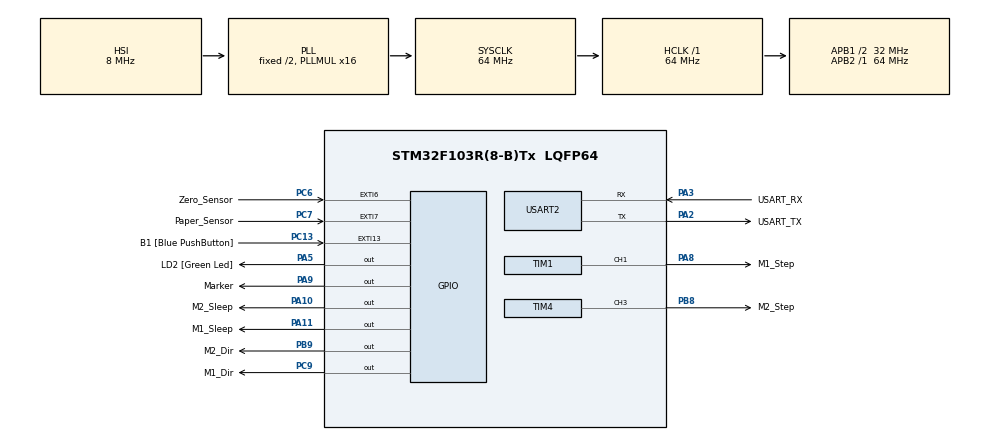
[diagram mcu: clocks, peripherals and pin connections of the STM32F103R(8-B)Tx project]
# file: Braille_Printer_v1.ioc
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Dma.Request0=USART2_RX
Dma.Request1=USART2_TX
Dma.USART2_RX.0.Direction=DMA_PERIPH_TO_MEMORY
Dma.USART2_RX.0.Instance=DMA1_Channel6
Dma.USART2_RX.0.MemDataAlignment=DMA_MDATAALIGN_BYTE
Dma.USART2_RX.0.MemInc=DMA_MINC_ENABLE
Dma.USART2_RX.0.Mode=DMA_NORMAL
Dma.USART2_RX.0.PeriphDataAlignment=DMA_PDATAALIGN_BYTE
Dma.USART2_RX.0.PeriphInc=DMA_PINC_DISABLE
Dma.USART2_RX.0.Priority=DMA_PRIORITY_LOW
Dma.USART2_TX.1.Direction=DMA_MEMORY_TO_PERIPH
Dma.USART2_TX.1.Instance=DMA1_Channel7
Dma.USART2_TX.1.MemDataAlignment=DMA_MDATAALIGN_BYTE
Dma.USART2_TX.1.MemInc=DMA_MINC_ENABLE
Dma.USART2_TX.1.Mode=DMA_NORMAL
Dma.USART2_TX.1.PeriphDataAlignment=DMA_PDATAALIGN_BYTE
Dma.USART2_TX.1.PeriphInc=DMA_PINC_DISABLE
Dma.USART2_TX.1.Priority=DMA_PRIORITY_LOW
Mcu.Family=STM32F1
Mcu.Name=STM32F103R(8-B)Tx
Mcu.Package=LQFP64
NVIC.DMA1_Channel6_IRQn=true\:0\:0\:false\:false\:true\:false
NVIC.DMA1_Channel7_IRQn=true\:0\:0\:false\:false\:true\:false
NVIC.EXTI15_10_IRQn=true\:0\:0\:false\:false\:true\:true
NVIC.EXTI9_5_IRQn=true\:0\:0\:false\:false\:true\:true
NVIC.PriorityGroup=NVIC_PRIORITYGROUP_4
NVIC.TIM2_IRQn=true\:0\:0\:false\:false\:true\:true
NVIC.TIM3_IRQn=true\:0\:0\:false\:false\:true\:true
NVIC.TIM4_IRQn=true\:0\:0\:false\:false\:true\:true
NVIC.USART2_IRQn=true\:0\:0\:false\:false\:true\:true
PA10.GPIO_Label=M2_Sleep
PA10.Signal=GPIO_Output
PA11.GPIO_Label=M1_Sleep
PA11.Signal=GPIO_Output
PA13.GPIO_Label=TMS
PA13.Mode=Serial_Wire
PA13.Signal=SYS_JTMS-SWDIO
PA14.GPIO_Label=TCK
PA14.Mode=Serial_Wire
PA14.Signal=SYS_JTCK-SWCLK
PA2.GPIO_Label=USART_TX
PA2.GPIO_Mode=GPIO_MODE_AF_PP
PA2.GPIO_PuPd=GPIO_NOPULL
PA2.GPIO_Speed=GPIO_SPEED_FREQ_LOW
PA2.Mode=Asynchronous
PA2.Signal=USART2_TX
PA3.GPIO_Label=USART_RX
PA3.GPIO_Mode=GPIO_MODE_AF_PP
PA3.GPIO_PuPd=GPIO_NOPULL
PA3.GPIO_Speed=GPIO_SPEED_FREQ_LOW
PA3.Mode=Asynchronous
PA3.Signal=USART2_RX
PA5.GPIO_Label=LD2 [Green Led]
PA5.GPIO_ModeDefaultOutputPP=GPIO_MODE_OUTPUT_PP
PA5.GPIO_PuPd=GPIO_NOPULL
PA5.GPIO_Speed=GPIO_SPEED_FREQ_LOW
PA5.Signal=GPIO_Output
PA8.GPIO_Label=M1_Step
PA8.Signal=S_TIM1_CH1
PA9.GPIO_Label=Marker
PA9.Signal=GPIO_Output
PB3.GPIO_Label=SWO
PB3.Signal=SYS_JTDO-TRACESWO
PB8.GPIO_Label=M2_Step
PB8.Signal=S_TIM4_CH3
PB9.GPIO_Label=M2_Dir
PB9.Signal=GPIO_Output
PC13-TAMPER-RTC.GPIO_Label=B1 [Blue PushButton]
PC13-TAMPER-RTC.GPIO_PuPd=GPIO_NOPULL
PC13-TAMPER-RTC.Signal=GPXTI13
PC14-OSC32_IN.Mode=LSE-External-Oscillator
PC14-OSC32_IN.Signal=RCC_OSC32_IN
PC15-OSC32_OUT.Mode=LSE-External-Oscillator
PC15-OSC32_OUT.Signal=RCC_OSC32_OUT
PC6.GPIO_Label=Zero_Sensor
PC6.GPIO_ModeDefaultEXTI=GPIO_MODE_IT_RISING_FALLING
PC6.GPIO_PuPd=GPIO_PULLUP
PC6.Signal=GPXTI6
PC7.GPIO_Label=Paper_Sensor
PC7.GPIO_ModeDefaultEXTI=GPIO_MODE_IT_RISING_FALLING
PC7.GPIO_PuPd=GPIO_PULLUP
PC7.Signal=GPXTI7
PC9.GPIO_Label=M1_Dir
PC9.Signal=GPIO_Output
PD0-OSC_IN.Mode=HSE-External-Clock-Source
PD0-OSC_IN.Signal=RCC_OSC_IN
PD1-OSC_OUT.Mode=HSE-External-Clock-Source
PD1-OSC_OUT.Signal=RCC_OSC_OUT
ProjectManager.HeapSize=0x200
ProjectManager.StackSize=0x400
ProjectManager.TargetToolchain=TrueSTUDIO
RCC.AHBFreq_Value=64000000
RCC.APB1CLKDivider=RCC_HCLK_DIV2
RCC.APB1Freq_Value=32000000
RCC.APB1TimFreq_Value=64000000
RCC.APB2Freq_Value=64000000
RCC.APB2TimFreq_Value=64000000
RCC.HCLKFreq_Value=64000000
RCC.PLLMUL=RCC_PLL_MUL16
RCC.RTCClockSelection=RCC_RTCCLKSOURCE_LSE
RCC.SYSCLKFreq_VALUE=64000000
RCC.SYSCLKSource=RCC_SYSCLKSOURCE_PLLCLK
RCC.USBFreq_Value=64000000
SH.S_TIM1_CH1.0=TIM1_CH1,PWM Generation1 CH1
SH.S_TIM4_CH3.0=TIM4_CH3,PWM Generation3 CH3
TIM1.Channel-PWM\ Generation1\ CH1=TIM_CHANNEL_1
TIM1.Period=99
TIM1.Prescaler=15999
TIM2.AutoReloadPreload=TIM_AUTORELOAD_PRELOAD_DISABLE
TIM2.Period=499
TIM2.Prescaler=63999
TIM3.Period=199
TIM3.Prescaler=63999
TIM4.Channel-PWM\ Generation3\ CH3=TIM_CHANNEL_3
TIM4.Period=99
TIM4.Prescaler=15999
USART2.StopBits=STOPBITS_1
USART2.VirtualMode=VM_ASYNC
VP_TIM1_VS_ClockSourceINT.Mode=Internal
VP_TIM2_VS_ClockSourceINT.Mode=Internal
VP_TIM3_VS_ClockSourceINT.Mode=Internal
VP_TIM4_VS_ClockSourceINT.Mode=Internal
board=NUCLEO-F103RB

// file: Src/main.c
/**
  ******************************************************************************
  * @file           : main.c
  * @brief          : Main program body
  ******************************************************************************
  ** This notice applies to any and all portions of this file
  * that are not between comment pairs USER CODE BEGIN and
  * USER CODE END. Other portions of this file, whether
  * inserted by the user or by software development tools
  * are owned by their respective copyright owners.
  *
  * COPYRIGHT(c) 2018 STMicroelectronics
  *
  * Redistribution and use in source and binary forms, with or without modification,
  * are permitted provided that the following conditions are met:
  *   1. Redistributions of source code must retain the above copyright notice,
  *      this list of conditions and the following disclaimer.
  *   2. Redistributions in binary form must reproduce the above copyright notice,
  *      this list of conditions and the following disclaimer in the documentation
  *      and/or other materials provided with the distribution.
  *   3. Neither the name of STMicroelectronics nor the names of its contributors
  *      may be used to endorse or promote products derived from this software
  *      without specific prior written permission.
  *
  * THIS SOFTWARE IS PROVIDED BY THE COPYRIGHT HOLDERS AND CONTRIBUTORS "AS IS"
  * AND ANY EXPRESS OR IMPLIED WARRANTIES, INCLUDING, BUT NOT LIMITED TO, THE
  * IMPLIED WARRANTIES OF MERCHANTABILITY AND FITNESS FOR A PARTICULAR PURPOSE ARE
  * DISCLAIMED. IN NO EVENT SHALL THE COPYRIGHT HOLDER OR CONTRIBUTORS BE LIABLE
  * FOR ANY DIRECT, INDIRECT, INCIDENTAL, SPECIAL, EXEMPLARY, OR CONSEQUENTIAL
  * DAMAGES (INCLUDING, BUT NOT LIMITED TO, PROCUREMENT OF SUBSTITUTE GOODS OR
  * SERVICES; LOSS OF USE, DATA, OR PROFITS; OR BUSINESS INTERRUPTION) HOWEVER
  * CAUSED AND ON ANY THEORY OF LIABILITY, WHETHER IN CONTRACT, STRICT LIABILITY,
  * OR TORT (INCLUDING NEGLIGENCE OR OTHERWISE) ARISING IN ANY WAY OUT OF THE USE
  * OF THIS SOFTWARE, EVEN IF ADVISED OF THE POSSIBILITY OF SUCH DAMAGE.
  *
  ******************************************************************************
  */
#include "main.h"
#include "stm32f1xx_hal.h"

/* USER CODE BEGIN Includes */
#include "stdbool.h"
/* USER CODE END Includes */

TIM_HandleTypeDef htim1;
TIM_HandleTypeDef htim2;
TIM_HandleTypeDef htim3;
TIM_HandleTypeDef htim4;

UART_HandleTypeDef huart2;
DMA_HandleTypeDef hdma_usart2_rx;
DMA_HandleTypeDef hdma_usart2_tx;

/* USER CODE BEGIN PV */
/* Private variables ---------------------------------------------------------*/
static uint8_t table[27]; //max 27 /////liczba wczytywanych znakow - MO¯NA ZMIENIAC!!!
static uint16_t tableLength = 5; ///////////////////////////
static uint16_t fullLineBrailleTable[3][45];
static uint16_t singleChar[3][3];
static uint16_t doubleChar[3][6];
static uint16_t n = 0;
static uint16_t counter = 0;
static uint16_t lineCounter = 0;
static uint16_t markerCounter = 0;

static uint8_t msg[100];

static bool stopFlag = true;
static bool markerFlag = false;
static bool zeroFlag = false;
static bool paperFlag = false;
static bool pwmFlag = false;
static bool resetFlag = false;/////czkeaja do kolejnego etapu prac
static bool loadFlag = false;
static bool isFirstFlag = true;

static uint16_t step = 0;	//////////////rozmiar krokow - MO¯NA ZMIENIAC!!!
static uint16_t x = -1;  //flaga ruchu -1 ¿eby na pocz¹tki ni chuj nic siê nie rusza³o :)
static uint16_t r = -1;
static uint8_t data[100];
static uint16_t size;

static uint16_t pwmCounter = 0;
/* USER CODE END PV */

void SystemClock_Config(void);
static void MX_GPIO_Init(void);
static void MX_DMA_Init(void);
static void MX_USART2_UART_Init(void);
static void MX_TIM2_Init(void);
static void MX_TIM3_Init(void);
static void MX_TIM1_Init(void);
static void MX_TIM4_Init(void);
void HAL_TIM_MspPostInit(TIM_HandleTypeDef *htim);

/* USER CODE BEGIN PFP */
/* Private function prototypes -----------------------------------------------*/
void HAL_GPIO_EXTI_Callback(uint16_t GPIO_Pin){
  if(GPIO_Pin == Zero_Sensor_Pin){
	  if(!HAL_GPIO_ReadPin(Zero_Sensor_GPIO_Port, Zero_Sensor_Pin)){

		  zeroFlag = true;
		  //afterResetFunction();
	  }else{

		  zeroFlag = false;

	  }
  }
 if(GPIO_Pin == Paper_Sensor_Pin){
	  if(!HAL_GPIO_ReadPin(Paper_Sensor_GPIO_Port, Paper_Sensor_Pin)){
		  HAL_GPIO_WritePin(GPIOA, GPIO_PIN_5, SET);
		  paperFlag = true;
	  }else{
		  HAL_GPIO_WritePin(GPIOA, GPIO_PIN_5, RESET);
  		  paperFlag = false;

  	  }
  }
}

void numberOfChars(){
	for(int i = 0; i<tableLength; i++){
		if(65 <= table[i] && table[i] <= 90){
			n+=2;
		}else if((48 <= table[i] && table[i] <= 57)){
			if(i == 0 || (i > 0 && (table[i-1] < 48 || table[i-1] > 57))){
				n+=2;
			}else n++;
		}else n++;
	}
}

void stringToBrailleTable(){
	uint16_t localFlag = 0;
	uint16_t wchichChar = 0;
	uint16_t lastChar = 0;

	for(wchichChar = 0; wchichChar<tableLength; wchichChar++){
		// 0 - puste pole 1 - kropka 2 - koniec znaku/przejscie do nast znaku
		//brakuje jeszcze case'ow na znaki zpecjalne itd :)
		switch(table[wchichChar]){
			//ma³e litery! a-z i spacja kropka, przecinek i wykrzyknik
			case 44: singleChar[0][0] = 0;	singleChar[0][1] = 0; singleChar[0][2] = 2;
					singleChar[1][0] = 1;	singleChar[1][1] = 0; singleChar[1][2] = 2;
					singleChar[2][0] = 0;	singleChar[2][1] = 0; singleChar[2][2] = 2;	break;
			case 46: singleChar[0][0] = 0;	singleChar[0][1] = 0; singleChar[0][2] = 2;
					singleChar[1][0] = 0;	singleChar[1][1] = 0; singleChar[1][2] = 2;
					singleChar[2][0] = 1;	singleChar[2][1] = 0; singleChar[2][2] = 2;	break;
			case 33: singleChar[0][0] = 0;	singleChar[0][1] = 0; singleChar[0][2] = 2;
					singleChar[1][0] = 0;	singleChar[1][1] = 1; singleChar[1][2] = 2;
					singleChar[2][0] = 0;	singleChar[2][1] = 0; singleChar[2][2] = 2;	break;
			case 32: singleChar[0][0] = 0;	singleChar[0][1] = 0; singleChar[0][2] = 2;
					singleChar[1][0] = 0;	singleChar[1][1] = 0; singleChar[1][2] = 2;
					singleChar[2][0] = 0;	singleChar[2][1] = 0; singleChar[2][2] = 2;	break;
			case 49:
			case 65:
			case 97: singleChar[0][0] = 1;	singleChar[0][1] = 0; singleChar[0][2] = 2;
					singleChar[1][0] = 0;	singleChar[1][1] = 0; singleChar[1][2] = 2;
					singleChar[2][0] = 0;	singleChar[2][1] = 0; singleChar[2][2] = 2;	break;
			case 50:
			case 66:
			case 98: singleChar[0][0] = 1;	singleChar[0][1] = 0; singleChar[0][2] = 2;
					singleChar[1][0] = 1;	singleChar[1][1] = 0; singleChar[1][2] = 2;
					singleChar[2][0] = 0;	singleChar[2][1] = 0; singleChar[2][2] = 2; break;
			case 51:
			case 67:
			case 99: singleChar[0][0] = 1;	singleChar[0][1] = 1; singleChar[0][2] = 2;
					singleChar[1][0] = 0;	singleChar[1][1] = 0; singleChar[1][2] = 2;
					singleChar[2][0] = 0;	singleChar[2][1] = 0; singleChar[2][2] = 2; break;
			case 52:
			case 68:
			case 100: singleChar[0][0] = 1;	singleChar[0][1] = 1; singleChar[0][2] = 2;
					singleChar[1][0] = 0;	singleChar[1][1] = 1; singleChar[1][2] = 2;
					singleChar[2][0] = 0;	singleChar[2][1] = 0; singleChar[2][2] = 2; break;
			case 53:
			case 69:
			case 101: singleChar[0][0] = 1;	singleChar[0][1] = 0; singleChar[0][2] = 2;
					singleChar[1][0] = 0;	singleChar[1][1] = 1; singleChar[1][2] = 2;
					singleChar[2][0] = 0;	singleChar[2][1] = 0; singleChar[2][2] = 2; break;
			case 54:
			case 70:
			case 102: singleChar[0][0] = 1;	singleChar[0][1] = 1; singleChar[0][2] = 2;
					singleChar[1][0] = 1;	singleChar[1][1] = 0; singleChar[1][2] = 2;
					singleChar[2][0] = 0;	singleChar[2][1] = 0; singleChar[2][2] = 2; break;
			case 55:
			case 71:
			case 103: singleChar[0][0] = 1;	singleChar[0][1] = 1; singleChar[0][2] = 2;
					singleChar[1][0] = 1;	singleChar[1][1] = 1; singleChar[1][2] = 2;
					singleChar[2][0] = 0;	singleChar[2][1] = 0; singleChar[2][2] = 2; break;
			case 56:
			case 72:
			case 104: singleChar[0][0] = 1;	singleChar[0][1] = 0; singleChar[0][2] = 2;
					singleChar[1][0] = 1;	singleChar[1][1] = 1; singleChar[1][2] = 2;
					singleChar[2][0] = 0;	singleChar[2][1] = 0; singleChar[2][2] = 2; break;
			case 57:
			case 73:
			case 105: singleChar[0][0] = 1;	singleChar[0][1] = 0; singleChar[0][2] = 2;
					singleChar[1][0] = 0;	singleChar[1][1] = 1; singleChar[1][2] = 2;
					singleChar[2][0] = 0;	singleChar[2][1] = 0; singleChar[2][2] = 2; break;
			case 48:
			case 74:
			case 106: singleChar[0][0] = 0;	singleChar[0][1] = 1; singleChar[0][2] = 2;
					singleChar[1][0] = 1;	singleChar[1][1] = 1; singleChar[1][2] = 2;
					singleChar[2][0] = 0;	singleChar[2][1] = 0; singleChar[2][2] = 2; break;
			case 75:
			case 107: singleChar[0][0] = 1;	singleChar[0][1] = 0; singleChar[0][2] = 2;
					singleChar[1][0] = 0;	singleChar[1][1] = 0; singleChar[1][2] = 2;
					singleChar[2][0] = 1;	singleChar[2][1] = 0; singleChar[2][2] = 2; break;
			case 76:
			case 108: singleChar[0][0] = 1;	singleChar[0][1] = 0; singleChar[0][2] = 2;
					singleChar[1][0] = 1;	singleChar[1][1] = 0; singleChar[1][2] = 2;
					singleChar[2][0] = 1;	singleChar[2][1] = 0; singleChar[2][2] = 2; break;
			case 77:
			case 109: singleChar[0][0] = 1;	singleChar[0][1] = 1; singleChar[0][2] = 2;
					singleChar[1][0] = 0;	singleChar[1][1] = 0; singleChar[1][2] = 2;
					singleChar[2][0] = 1;	singleChar[2][1] = 0; singleChar[2][2] = 2; break;
			case 78:
			case 110: singleChar[0][0] = 1;	singleChar[0][1] = 1; singleChar[0][2] = 2;
					singleChar[1][0] = 0;	singleChar[1][1] = 1; singleChar[1][2] = 2;
					singleChar[2][0] = 1;	singleChar[2][1] = 0; singleChar[2][2] = 2; break;
			case  79:
			case 111: singleChar[0][0] = 1;	singleChar[0][1] = 0; singleChar[0][2] = 2;
					singleChar[1][0] = 0;	singleChar[1][1] = 1; singleChar[1][2] = 2;
					singleChar[2][0] = 1;	singleChar[2][1] = 0; singleChar[2][2] = 2; break;
			case 80:
			case 112: singleChar[0][0] = 1;	singleChar[0][1] = 1; singleChar[0][2] = 2;
					singleChar[1][0] = 1;	singleChar[1][1] = 0; singleChar[1][2] = 2;
					singleChar[2][0] = 1;	singleChar[2][1] = 0; singleChar[2][2] = 2; break;
			case 81:
			case 113: singleChar[0][0] = 1;	singleChar[0][1] = 1; singleChar[0][2] = 2;
					singleChar[1][0] = 1;	singleChar[1][1] = 1; singleChar[1][2] = 2;
					singleChar[2][0] = 1;	singleChar[2][1] = 0; singleChar[2][2] = 2; break;
			case 82:
			case 114: singleChar[0][0] = 1;	singleChar[0][1] = 0; singleChar[0][2] = 2;
					singleChar[1][0] = 1;	singleChar[1][1] = 1; singleChar[1][2] = 2;
					singleChar[2][0] = 1;	singleChar[2][1] = 0; singleChar[2][2] = 2; break;
			case 83:
			case 115: singleChar[0][0] = 0;	singleChar[0][1] = 1; singleChar[0][2] = 2;
					singleChar[1][0] = 1;	singleChar[1][1] = 0; singleChar[1][2] = 2;
					singleChar[2][0] = 1;	singleChar[2][1] = 0; singleChar[2][2] = 2; break;
			case 84:
			case 116: singleChar[0][0] = 0;	singleChar[0][1] = 1; singleChar[0][2] = 2;
					singleChar[1][0] = 1;	singleChar[1][1] = 1; singleChar[1][2] = 2;
					singleChar[2][0] = 1;	singleChar[2][1] = 0; singleChar[2][2] = 2; break;
			case 85:
			case 117: singleChar[0][0] = 1;	singleChar[0][1] = 0; singleChar[0][2] = 2;
					singleChar[1][0] = 0;	singleChar[1][1] = 0; singleChar[1][2] = 2;
					singleChar[2][0] = 1;	singleChar[2][1] = 1; singleChar[2][2] = 2; break;
			case 86:
			case 118: singleChar[0][0] = 1;	singleChar[0][1] = 0; singleChar[0][2] = 2;
					singleChar[1][0] = 1;	singleChar[1][1] = 0; singleChar[1][2] = 2;
					singleChar[2][0] = 1;	singleChar[2][1] = 1; singleChar[2][2] = 2; break;
			case 87:
			case 119: singleChar[0][0] = 0;	singleChar[0][1] = 1; singleChar[0][2] = 2;
					singleChar[1][0] = 1;	singleChar[1][1] = 1; singleChar[1][2] = 2;
					singleChar[2][0] = 0;	singleChar[2][1] = 1; singleChar[2][2] = 2; break;
			case 88:
			case 120: singleChar[0][0] = 1;	singleChar[0][1] = 1; singleChar[0][2] = 2;
					singleChar[1][0] = 0;	singleChar[1][1] = 0; singleChar[1][2] = 2;
					singleChar[2][0] = 1;	singleChar[2][1] = 1; singleChar[2][2] = 2; break;
			case 89:
			case 121: singleChar[0][0] = 1;	singleChar[0][1] = 1; singleChar[0][2] = 2;
					singleChar[1][0] = 0;	singleChar[1][1] = 1; singleChar[1][2] = 2;
					singleChar[2][0] = 1;	singleChar[2][1] = 1; singleChar[2][2] = 2; break;
			case 90:
			case 122: singleChar[0][0] = 1;	singleChar[0][1] = 0; singleChar[0][2] = 2;
					singleChar[1][0] = 0;	singleChar[1][1] = 1; singleChar[1][2] = 2;
					singleChar[2][0] = 1;	singleChar[2][1] = 1; singleChar[2][2] = 2; break;

		}

		if(65 <= table[wchichChar] && table[wchichChar] <= 90){
			//znak poprzedzaj¹cy wielkie litery
			doubleChar[0][0] = 0;	doubleChar[0][1] = 1; doubleChar[0][2] = 2;
			doubleChar[1][0] = 0;	doubleChar[1][1] = 0; doubleChar[1][2] = 2;
			doubleChar[2][0] = 0;	doubleChar[2][1] = 1; doubleChar[2][2] = 2;

			localFlag = 2;

			for(int i = 0; i<3; i++){
				for(int j = 0; j<3; j++){
					doubleChar[i][j+3] = singleChar[i][j];

				}

			}

		}else if(48 <= table[wchichChar] && table[wchichChar] <= 57){
			if(wchichChar == 0 || (wchichChar > 0 && (table[wchichChar-1] < 48 || table[wchichChar-1] > 57))){
				//znak poprzedzaj¹cy liczby//////////////////////////////////////////////
				doubleChar[0][0] = 0;	doubleChar[0][1] = 1; doubleChar[0][2] = 2;
				doubleChar[1][0] = 0;	doubleChar[1][1] = 1; doubleChar[1][2] = 2;
				doubleChar[2][0] = 1;	doubleChar[2][1] = 1; doubleChar[2][2] = 2;

				localFlag = 2;

				for(int i = 0; i<3; i++){
					for(int j = 0; j<3; j++){
						doubleChar[i][j+3] = singleChar[i][j];

					}

				}
			}

		}else localFlag = 1;

		for(int i = 0; i<3; i++){
			for(int j = 0; j<localFlag*3; j++){
				if(localFlag == 1){
					fullLineBrailleTable[i][(wchichChar * 3) + j] = singleChar[i][j];
				}else if (localFlag == 2){
					fullLineBrailleTable[i][(wchichChar * 3) + j] = doubleChar[i][j];
				}

				lastChar = (wchichChar * 3) + j;
			}

		}

	}
	for(int i = 0; i<3; i++){  //uzupe³nienie reszty tablicy spacjami w braille'u
		 	 	 	 	 	 	 /////narazie jest 45 czyli ca³a linia niewazne ile wpiszemy, ale
								//docelowo bêdzie tam n*3 kolumn i nie bedziemy uzupe³niac spacjami :)
		for(int j = lastChar; j<45; j++){
			if((j+1)%3 == 0) fullLineBrailleTable[i][j] = 2;
			else fullLineBrailleTable[i][j] = 0;
		}
	}

}

void reset1(){
	stopFlag = true;
	if(!HAL_GPIO_ReadPin(M1_Dir_GPIO_Port, M1_Dir_Pin))
		HAL_GPIO_WritePin(M1_Dir_GPIO_Port, M1_Dir_Pin, SET);

	TIM1->CCR1 = 50;
	TIM4->CCR3 = 0;
	x = 4;
	pwmFlag = true;
}

void loadPaper(){
	stopFlag = true;
	if(HAL_GPIO_ReadPin(M2_Dir_GPIO_Port, M2_Dir_Pin))
		HAL_GPIO_WritePin(M2_Dir_GPIO_Port, M2_Dir_Pin, RESET);

	TIM1->CCR1 = 0;
	TIM4->CCR3 = 50;
	x = 5;
	pwmFlag = true;
}

void afterMoveFunction(){
	if(x == 0){
		if(fullLineBrailleTable[lineCounter][counter] == 0){
			TIM1->CCR1 = 0;/////////////////////////////////////////////////////////////////
			TIM4->CCR3 = 0;
			x=1;
			step = 0;
			pwmFlag = true;
		}else if(fullLineBrailleTable[lineCounter][counter] == 1){
			x=1;
			markerFlag = true;
		}else if(fullLineBrailleTable[lineCounter][counter] == 2){

			TIM1->CCR1 = 50;/////////////////////////////////////////////////////////////////
			TIM4->CCR3 = 0;
			x=1;
			step = 2;
			pwmFlag = true;
		}

	}else if(x == 1){
		counter++;
		if((counter)%3==0) isFirstFlag = true;

		if(counter >= n*3){
			counter = 0;
			lineCounter++;
			r=1;
			resetFlag=true;/////////////////////////////////////////////////////////////////////
		}else stopFlag = false;
	}else if(x == 2){
		if(lineCounter >= 3){
			lineCounter = 0;
			r=2;
			resetFlag=true;/////////////////////////////////////////////////////////////////////
		}else stopFlag = false;
	}

}

void afterResetFunction(){
	if(r == 0){
		r = 3;
		loadFlag = true;
	}else if(r == 1){
		r = 4;
		loadFlag = true;
	}else if(r == 2){
		r = 5;
		loadFlag = true;
	}else if(r==3){
		n=0;
		numberOfChars();
		stringToBrailleTable();
		///////////////
		size = sprintf(&data, "\n\r Saved: %s , jest to %d znakow "
				"w Braille'u.\n\r Rozpoczynam drukowanie lini...\n\r", table, n);
		//////////////
		HAL_UART_Transmit_IT(&huart2, &data, size);
		stopFlag = false;
	}else if(r == 4){
		//oœ Y ruch
		if(HAL_GPIO_ReadPin(M2_Dir_GPIO_Port, M2_Dir_Pin))
			HAL_GPIO_WritePin(M2_Dir_GPIO_Port, M2_Dir_Pin, RESET);
		TIM1->CCR1 = 0;//////////////////////////////////////////////////////////////////////
		TIM4->CCR3 = 50;
		x = 2;
		step = 35;
		pwmFlag = true;
	}else if(r == 5){
		uint16_t size2 = sprintf(&msg, "Wpisz kolejna linie do druku: \n\r");
		HAL_UART_Transmit_IT(&huart2, &msg, size2);

		HAL_UART_Receive_IT(&huart2, &table, tableLength);
	}

}

void HAL_TIM_PeriodElapsedCallback(TIM_HandleTypeDef *htim){
	if(htim == &htim2){
		if(!stopFlag){
			stopFlag = true;

			if(HAL_GPIO_ReadPin(M1_Dir_GPIO_Port, M1_Dir_Pin))
					HAL_GPIO_WritePin(M1_Dir_GPIO_Port, M1_Dir_Pin, RESET);
			//zawsze jedn krok i potem program decyduje co dalej
			if(!isFirstFlag){
				TIM1->CCR1 = 50;///////////////////////////////////////////////////////////////////////
				TIM4->CCR3 = 0;
				step = 6;
			}else{
				TIM1->CCR1 = 0;///////////////////////////////////////////////////////////////////////
				TIM4->CCR3 = 0;
				step = 0;
			}
			isFirstFlag = false;
			x = 0;
			pwmFlag = true;

		}
	}
	if(htim == &htim3){
		//HAL_GPIO_TogglePin(GPIOA, GPIO_PIN_5);
		if(markerFlag){
			markerCounter++;
			HAL_GPIO_TogglePin(Marker_GPIO_Port,  Marker_Pin);
			if(markerCounter== 2){
				markerCounter = 0;
				markerFlag = false;
				afterMoveFunction();
			}

		}if(pwmFlag){
			HAL_GPIO_WritePin(M1_Sleep_GPIO_Port, M1_Sleep_Pin, RESET);
			HAL_GPIO_WritePin(M2_Sleep_GPIO_Port, M2_Sleep_Pin, RESET);
			pwmCounter++;
			if(x == 4){
				if(zeroFlag){
					pwmFlag = false;
					pwmCounter = 0;
					TIM1->CCR1 = 0;
					TIM4->CCR3 = 0;
					HAL_GPIO_WritePin(M1_Sleep_GPIO_Port, M1_Sleep_Pin, SET);
					HAL_GPIO_WritePin(M2_Sleep_GPIO_Port, M2_Sleep_Pin, SET);
					afterResetFunction();
				}
			}else if(x == 5){
				if(paperFlag){
					pwmFlag = false;
					pwmCounter = 0;
					TIM1->CCR1 = 0;
					TIM4->CCR3 = 0;
					HAL_GPIO_WritePin(M1_Sleep_GPIO_Port, M1_Sleep_Pin, SET);
					HAL_GPIO_WritePin(M2_Sleep_GPIO_Port, M2_Sleep_Pin, SET);
					afterResetFunction();
				}
			}
			else if(pwmCounter >= step){//5 to przyk³adowa liczba krokow
				pwmFlag = false;
				pwmCounter = 0;
				TIM1->CCR1 = 0;
				TIM4->CCR3 = 0;
				HAL_GPIO_WritePin(M1_Sleep_GPIO_Port, M1_Sleep_Pin, SET);
				HAL_GPIO_WritePin(M2_Sleep_GPIO_Port, M2_Sleep_Pin, SET);
				afterMoveFunction();
			}
		}

	}
	if(htim == &htim4){
		if(resetFlag){
			resetFlag = false;
			if(!HAL_GPIO_ReadPin(Zero_Sensor_GPIO_Port, Zero_Sensor_Pin)){
				afterResetFunction();
			}else{
				reset1();
			}
		}
		if(loadFlag){
			loadFlag = false;
			  if(!HAL_GPIO_ReadPin(Paper_Sensor_GPIO_Port, Paper_Sensor_Pin)){
				  afterResetFunction();
			  }else{
				  uint16_t size3 = sprintf(&msg, "\n\r UMIESC PAPIER W NAPEDZIE !!! \n\r");
				  HAL_UART_Transmit_IT(&huart2, &msg, size3);
				  loadPaper();
			  }
		}
	}
}

void HAL_UART_RxCpltCallback(UART_HandleTypeDef *huart){
	stopFlag = true;
	r=0;
	resetFlag=true;/////////////////////////////////////////////////////////////////////
}

/* USER CODE END PFP */

int main(void)
{

  /* MCU Configuration----------------------------------------------------------*/

  /* Reset of all peripherals, Initializes the Flash interface and the Systick. */
  HAL_Init();

  /* Configure the system clock */
  SystemClock_Config();

  /* Initialize all configured peripherals */
  MX_GPIO_Init();
  MX_DMA_Init();
  MX_USART2_UART_Init();
  MX_TIM2_Init();
  MX_TIM3_Init();
  MX_TIM1_Init();
  MX_TIM4_Init();
  /* USER CODE BEGIN 2 */
  HAL_GPIO_WritePin(M1_Sleep_GPIO_Port, M1_Sleep_Pin, SET);
  HAL_GPIO_WritePin(M2_Sleep_GPIO_Port, M2_Sleep_Pin, SET);
  HAL_TIM_Base_Start_IT(&htim2);
  HAL_TIM_Base_Start_IT(&htim3);
  HAL_TIM_Base_Start_IT(&htim4);
  HAL_TIM_PWM_Start(&htim1, TIM_CHANNEL_1);
  HAL_TIM_PWM_Start(&htim4, TIM_CHANNEL_3);
  TIM1->CCR1 = 0;
  TIM4->CCR3 = 0;

  uint16_t size1 = sprintf(&msg, "Wpisz linie do druku: \n\r");
  HAL_UART_Transmit_IT(&huart2, &msg, size1);

  HAL_UART_Receive_IT(&huart2, &table, tableLength);

  /* USER CODE END 2 */

  /* Infinite loop */
  while (1)
  {

  }

}

void SystemClock_Config(void)
{

  RCC_OscInitTypeDef RCC_OscInitStruct;
  RCC_ClkInitTypeDef RCC_ClkInitStruct;

    /**Initializes the CPU, AHB and APB busses clocks
    */
  RCC_OscInitStruct.OscillatorType = RCC_OSCILLATORTYPE_HSI;
  RCC_OscInitStruct.HSIState = RCC_HSI_ON;
  RCC_OscInitStruct.HSICalibrationValue = 16;
  RCC_OscInitStruct.PLL.PLLState = RCC_PLL_ON;
  RCC_OscInitStruct.PLL.PLLSource = RCC_PLLSOURCE_HSI_DIV2;
  RCC_OscInitStruct.PLL.PLLMUL = RCC_PLL_MUL16;
  if (HAL_RCC_OscConfig(&RCC_OscInitStruct) != HAL_OK)
  {
    _Error_Handler(__FILE__, __LINE__);
  }

    /**Initializes the CPU, AHB and APB busses clocks
    */
  RCC_ClkInitStruct.ClockType = RCC_CLOCKTYPE_HCLK|RCC_CLOCKTYPE_SYSCLK
                              |RCC_CLOCKTYPE_PCLK1|RCC_CLOCKTYPE_PCLK2;
  RCC_ClkInitStruct.SYSCLKSource = RCC_SYSCLKSOURCE_PLLCLK;
  RCC_ClkInitStruct.AHBCLKDivider = RCC_SYSCLK_DIV1;
  RCC_ClkInitStruct.APB1CLKDivider = RCC_HCLK_DIV2;
  RCC_ClkInitStruct.APB2CLKDivider = RCC_HCLK_DIV1;

  if (HAL_RCC_ClockConfig(&RCC_ClkInitStruct, FLASH_LATENCY_2) != HAL_OK)
  {
    _Error_Handler(__FILE__, __LINE__);
  }

    /**Configure the Systick interrupt time
    */
  HAL_SYSTICK_Config(HAL_RCC_GetHCLKFreq()/1000);

    /**Configure the Systick
    */
  HAL_SYSTICK_CLKSourceConfig(SYSTICK_CLKSOURCE_HCLK);

  /* SysTick_IRQn interrupt configuration */
  HAL_NVIC_SetPriority(SysTick_IRQn, 0, 0);
}

/* TIM1 init function */
static void MX_TIM1_Init(void)
{

  TIM_ClockConfigTypeDef sClockSourceConfig;
  TIM_MasterConfigTypeDef sMasterConfig;
  TIM_OC_InitTypeDef sConfigOC;
  TIM_BreakDeadTimeConfigTypeDef sBreakDeadTimeConfig;

  htim1.Instance = TIM1;
  htim1.Init.Prescaler = 15999;
  htim1.Init.CounterMode = TIM_COUNTERMODE_UP;
  htim1.Init.Period = 99;
  htim1.Init.ClockDivision = TIM_CLOCKDIVISION_DIV1;
  htim1.Init.RepetitionCounter = 0;
  htim1.Init.AutoReloadPreload = TIM_AUTORELOAD_PRELOAD_DISABLE;
  if (HAL_TIM_Base_Init(&htim1) != HAL_OK)
  {
    _Error_Handler(__FILE__, __LINE__);
  }

  sClockSourceConfig.ClockSource = TIM_CLOCKSOURCE_INTERNAL;
  if (HAL_TIM_ConfigClockSource(&htim1, &sClockSourceConfig) != HAL_OK)
  {
    _Error_Handler(__FILE__, __LINE__);
  }

  if (HAL_TIM_PWM_Init(&htim1) != HAL_OK)
  {
    _Error_Handler(__FILE__, __LINE__);
  }

  sMasterConfig.MasterOutputTrigger = TIM_TRGO_RESET;
  sMasterConfig.MasterSlaveMode = TIM_MASTERSLAVEMODE_DISABLE;
  if (HAL_TIMEx_MasterConfigSynchronization(&htim1, &sMasterConfig) != HAL_OK)
  {
    _Error_Handler(__FILE__, __LINE__);
  }

  sConfigOC.OCMode = TIM_OCMODE_PWM1;
  sConfigOC.Pulse = 0;
  sConfigOC.OCPolarity = TIM_OCPOLARITY_HIGH;
  sConfigOC.OCNPolarity = TIM_OCNPOLARITY_HIGH;
  sConfigOC.OCFastMode = TIM_OCFAST_DISABLE;
  sConfigOC.OCIdleState = TIM_OCIDLESTATE_RESET;
  sConfigOC.OCNIdleState = TIM_OCNIDLESTATE_RESET;
  if (HAL_TIM_PWM_ConfigChannel(&htim1, &sConfigOC, TIM_CHANNEL_1) != HAL_OK)
  {
    _Error_Handler(__FILE__, __LINE__);
  }

  sBreakDeadTimeConfig.OffStateRunMode = TIM_OSSR_DISABLE;
  sBreakDeadTimeConfig.OffStateIDLEMode = TIM_OSSI_DISABLE;
  sBreakDeadTimeConfig.LockLevel = TIM_LOCKLEVEL_OFF;
  sBreakDeadTimeConfig.DeadTime = 0;
  sBreakDeadTimeConfig.BreakState = TIM_BREAK_DISABLE;
  sBreakDeadTimeConfig.BreakPolarity = TIM_BREAKPOLARITY_HIGH;
  sBreakDeadTimeConfig.AutomaticOutput = TIM_AUTOMATICOUTPUT_DISABLE;
  if (HAL_TIMEx_ConfigBreakDeadTime(&htim1, &sBreakDeadTimeConfig) != HAL_OK)
  {
    _Error_Handler(__FILE__, __LINE__);
  }

  HAL_TIM_MspPostInit(&htim1);

}

/* TIM2 init function */
static void MX_TIM2_Init(void)
{

  TIM_ClockConfigTypeDef sClockSourceConfig;
  TIM_MasterConfigTypeDef sMasterConfig;

  htim2.Instance = TIM2;
  htim2.Init.Prescaler = 63999;
  htim2.Init.CounterMode = TIM_COUNTERMODE_UP;
  htim2.Init.Period = 499;
  htim2.Init.ClockDivision = TIM_CLOCKDIVISION_DIV1;
  htim2.Init.AutoReloadPreload = TIM_AUTORELOAD_PRELOAD_DISABLE;
  if (HAL_TIM_Base_Init(&htim2) != HAL_OK)
  {
    _Error_Handler(__FILE__, __LINE__);
  }

  sClockSourceConfig.ClockSource = TIM_CLOCKSOURCE_INTERNAL;
  if (HAL_TIM_ConfigClockSource(&htim2, &sClockSourceConfig) != HAL_OK)
  {
    _Error_Handler(__FILE__, __LINE__);
  }

  sMasterConfig.MasterOutputTrigger = TIM_TRGO_RESET;
  sMasterConfig.MasterSlaveMode = TIM_MASTERSLAVEMODE_DISABLE;
  if (HAL_TIMEx_MasterConfigSynchronization(&htim2, &sMasterConfig) != HAL_OK)
  {
    _Error_Handler(__FILE__, __LINE__);
  }

}

/* TIM3 init function */
static void MX_TIM3_Init(void)
{

  TIM_ClockConfigTypeDef sClockSourceConfig;
  TIM_MasterConfigTypeDef sMasterConfig;

  htim3.Instance = TIM3;
  htim3.Init.Prescaler = 63999;
  htim3.Init.CounterMode = TIM_COUNTERMODE_UP;
  htim3.Init.Period = 199;
  htim3.Init.ClockDivision = TIM_CLOCKDIVISION_DIV1;
  htim3.Init.AutoReloadPreload = TIM_AUTORELOAD_PRELOAD_DISABLE;
  if (HAL_TIM_Base_Init(&htim3) != HAL_OK)
  {
    _Error_Handler(__FILE__, __LINE__);
  }

  sClockSourceConfig.ClockSource = TIM_CLOCKSOURCE_INTERNAL;
  if (HAL_TIM_ConfigClockSource(&htim3, &sClockSourceConfig) != HAL_OK)
  {
    _Error_Handler(__FILE__, __LINE__);
  }

  sMasterConfig.MasterOutputTrigger = TIM_TRGO_RESET;
  sMasterConfig.MasterSlaveMode = TIM_MASTERSLAVEMODE_DISABLE;
  if (HAL_TIMEx_MasterConfigSynchronization(&htim3, &sMasterConfig) != HAL_OK)
  {
    _Error_Handler(__FILE__, __LINE__);
  }

}

/* TIM4 init function */
static void MX_TIM4_Init(void)
{

  TIM_ClockConfigTypeDef sClockSourceConfig;
  TIM_MasterConfigTypeDef sMasterConfig;
  TIM_OC_InitTypeDef sConfigOC;

  htim4.Instance = TIM4;
  htim4.Init.Prescaler = 15999;
  htim4.Init.CounterMode = TIM_COUNTERMODE_UP;
  htim4.Init.Period = 99;
  htim4.Init.ClockDivision = TIM_CLOCKDIVISION_DIV1;
  htim4.Init.AutoReloadPreload = TIM_AUTORELOAD_PRELOAD_DISABLE;
  if (HAL_TIM_Base_Init(&htim4) != HAL_OK)
  {
    _Error_Handler(__FILE__, __LINE__);
  }

  sClockSourceConfig.ClockSource = TIM_CLOCKSOURCE_INTERNAL;
  if (HAL_TIM_ConfigClockSource(&htim4, &sClockSourceConfig) != HAL_OK)
  {
    _Error_Handler(__FILE__, __LINE__);
  }

  if (HAL_TIM_PWM_Init(&htim4) != HAL_OK)
  {
    _Error_Handler(__FILE__, __LINE__);
  }

  sMasterConfig.MasterOutputTrigger = TIM_TRGO_RESET;
  sMasterConfig.MasterSlaveMode = TIM_MASTERSLAVEMODE_DISABLE;
  if (HAL_TIMEx_MasterConfigSynchronization(&htim4, &sMasterConfig) != HAL_OK)
  {
    _Error_Handler(__FILE__, __LINE__);
  }

  sConfigOC.OCMode = TIM_OCMODE_PWM1;
  sConfigOC.Pulse = 0;
  sConfigOC.OCPolarity = TIM_OCPOLARITY_HIGH;
  sConfigOC.OCFastMode = TIM_OCFAST_DISABLE;
  if (HAL_TIM_PWM_ConfigChannel(&htim4, &sConfigOC, TIM_CHANNEL_3) != HAL_OK)
  {
    _Error_Handler(__FILE__, __LINE__);
  }

  HAL_TIM_MspPostInit(&htim4);

}

/* USART2 init function */
static void MX_USART2_UART_Init(void)
{

  huart2.Instance = USART2;
  huart2.Init.BaudRate = 115200;
  huart2.Init.WordLength = UART_WORDLENGTH_8B;
  huart2.Init.StopBits = UART_STOPBITS_1;
  huart2.Init.Parity = UART_PARITY_NONE;
  huart2.Init.Mode = UART_MODE_TX_RX;
  huart2.Init.HwFlowCtl = UART_HWCONTROL_NONE;
  huart2.Init.OverSampling = UART_OVERSAMPLING_16;
  if (HAL_UART_Init(&huart2) != HAL_OK)
  {
    _Error_Handler(__FILE__, __LINE__);
  }

}

static void MX_DMA_Init(void)
{
  /* DMA controller clock enable */
  __HAL_RCC_DMA1_CLK_ENABLE();

  /* DMA interrupt init */
  /* DMA1_Channel6_IRQn interrupt configuration */
  HAL_NVIC_SetPriority(DMA1_Channel6_IRQn, 0, 0);
  HAL_NVIC_EnableIRQ(DMA1_Channel6_IRQn);
  /* DMA1_Channel7_IRQn interrupt configuration */
  HAL_NVIC_SetPriority(DMA1_Channel7_IRQn, 0, 0);
  HAL_NVIC_EnableIRQ(DMA1_Channel7_IRQn);

}

/** Configure pins as
        * Analog
        * Input
        * Output
        * EVENT_OUT
        * EXTI
*/
static void MX_GPIO_Init(void)
{

  GPIO_InitTypeDef GPIO_InitStruct;

  /* GPIO Ports Clock Enable */
  __HAL_RCC_GPIOC_CLK_ENABLE();
  __HAL_RCC_GPIOD_CLK_ENABLE();
  __HAL_RCC_GPIOA_CLK_ENABLE();
  __HAL_RCC_GPIOB_CLK_ENABLE();

  /*Configure GPIO pin Output Level */
  HAL_GPIO_WritePin(GPIOA, LD2_Pin|Marker_Pin|M2_Sleep_Pin|M1_Sleep_Pin, GPIO_PIN_RESET);

  /*Configure GPIO pin Output Level */
  HAL_GPIO_WritePin(M1_Dir_GPIO_Port, M1_Dir_Pin, GPIO_PIN_RESET);

  /*Configure GPIO pin Output Level */
  HAL_GPIO_WritePin(M2_Dir_GPIO_Port, M2_Dir_Pin, GPIO_PIN_RESET);

  /*Configure GPIO pin : B1_Pin */
  GPIO_InitStruct.Pin = B1_Pin;
  GPIO_InitStruct.Mode = GPIO_MODE_IT_RISING;
  GPIO_InitStruct.Pull = GPIO_NOPULL;
  HAL_GPIO_Init(B1_GPIO_Port, &GPIO_InitStruct);

  /*Configure GPIO pins : LD2_Pin Marker_Pin M2_Sleep_Pin M1_Sleep_Pin */
  GPIO_InitStruct.Pin = LD2_Pin|Marker_Pin|M2_Sleep_Pin|M1_Sleep_Pin;
  GPIO_InitStruct.Mode = GPIO_MODE_OUTPUT_PP;
  GPIO_InitStruct.Pull = GPIO_NOPULL;
  GPIO_InitStruct.Speed = GPIO_SPEED_FREQ_LOW;
  HAL_GPIO_Init(GPIOA, &GPIO_InitStruct);

  /*Configure GPIO pins : Zero_Sensor_Pin Paper_Sensor_Pin */
  GPIO_InitStruct.Pin = Zero_Sensor_Pin|Paper_Sensor_Pin;
  GPIO_InitStruct.Mode = GPIO_MODE_IT_RISING_FALLING;
  GPIO_InitStruct.Pull = GPIO_PULLUP;
  HAL_GPIO_Init(GPIOC, &GPIO_InitStruct);

  /*Configure GPIO pin : M1_Dir_Pin */
  GPIO_InitStruct.Pin = M1_Dir_Pin;
  GPIO_InitStruct.Mode = GPIO_MODE_OUTPUT_PP;
  GPIO_InitStruct.Pull = GPIO_NOPULL;
  GPIO_InitStruct.Speed = GPIO_SPEED_FREQ_LOW;
  HAL_GPIO_Init(M1_Dir_GPIO_Port, &GPIO_InitStruct);

  /*Configure GPIO pin : M2_Dir_Pin */
  GPIO_InitStruct.Pin = M2_Dir_Pin;
  GPIO_InitStruct.Mode = GPIO_MODE_OUTPUT_PP;
  GPIO_InitStruct.Pull = GPIO_NOPULL;
  GPIO_InitStruct.Speed = GPIO_SPEED_FREQ_LOW;
  HAL_GPIO_Init(M2_Dir_GPIO_Port, &GPIO_InitStruct);

  /* EXTI interrupt init*/
  HAL_NVIC_SetPriority(EXTI9_5_IRQn, 0, 0);
  HAL_NVIC_EnableIRQ(EXTI9_5_IRQn);

  HAL_NVIC_SetPriority(EXTI15_10_IRQn, 0, 0);
  HAL_NVIC_EnableIRQ(EXTI15_10_IRQn);

}

void _Error_Handler(char *file, int line)
{
  while(1)
  {
  }
}

/************************ (C) COPYRIGHT STMicroelectronics *****END OF FILE****/
